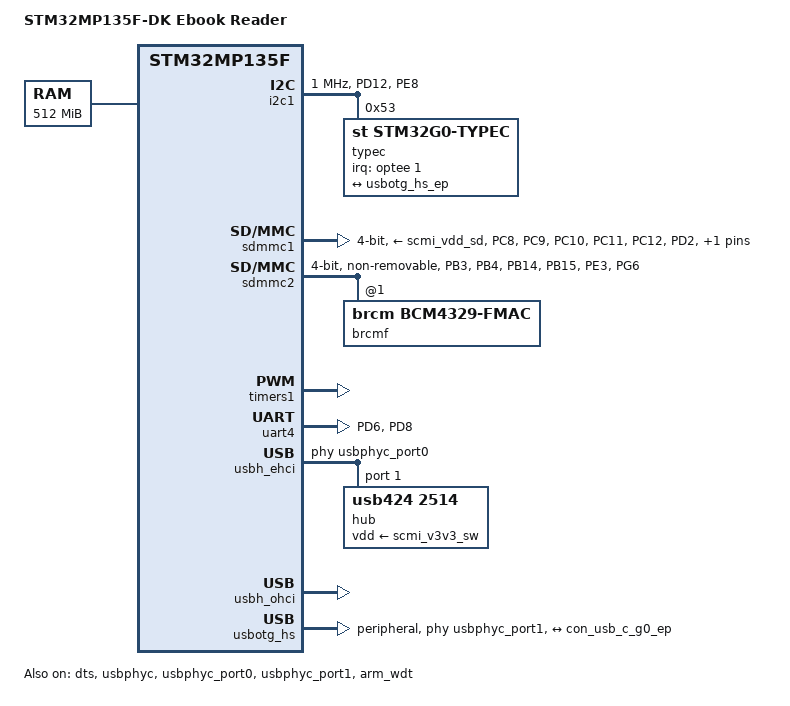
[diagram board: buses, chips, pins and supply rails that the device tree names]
// SPDX-License-Identifier: (GPL-2.0-or-later OR BSD-3-Clause)
/*
 * Copyright (C) 2025, STMicroelectronics - All Rights Reserved
 * Author: STM32CubeMX code generation for STMicroelectronics.
 */

/* For more information on Device Tree configuration, please refer to
 * https://wiki.st.com/stm32mpu/wiki/Category:Device_tree_configuration
 */

/dts-v1/;

#include <dt-bindings/pinctrl/stm32-pinfunc.h>
#include "stm32mp135.dtsi"
#include "stm32mp13xf.dtsi"

/* USER CODE BEGIN includes */
#include <dt-bindings/gpio/gpio.h>
#include <dt-bindings/input/input.h>
#include <dt-bindings/leds/common.h>
#include <dt-bindings/pwm/pwm.h>
#include <dt-bindings/rtc/rtc-stm32.h>
/* USER CODE END includes */

/ {
	model = "STM32MP135F-DK Ebook Reader";
	compatible = "st,stm32mp135f-dk-ebook_reader";

	memory@c0000000 {
		device_type = "memory";
		reg = <0xc0000000 0x20000000>;

		/* USER CODE BEGIN memory */
		/* USER CODE END memory */
	};

	reserved-memory {
		#address-cells = <1>;
		#size-cells = <1>;
		ranges;

		/* USER CODE BEGIN reserved-memory */

		optee@dd000000{
			reg = <0xdd000000 0x3000000>;
			no-map;
		};
		/* USER CODE END reserved-memory */
	};

	/* USER CODE BEGIN root */

	aliases{
		ethernet0 = &ethernet1;
		ethernet1 = &ethernet2;
		serial0 = &uart4;
		serial1 = &usart1;
		serial2 = &uart8;
		serial3 = &usart2;
	};

	chosen{
		stdout-path = "serial0:115200n8";
		#address-cells = <1>;
		#size-cells = <1>;
		ranges;

		framebuffer{
			compatible = "simple-framebuffer";
			clocks = <&rcc LTDC_PX>;
			lcd-supply = <&scmi_v3v3_sw>;
			status = "disabled";
		};
	};
}; /*root*/

&pinctrl {
	i2c1_pins_mx: i2c1_mx-0 {
		pins {
			pinmux = <STM32_PINMUX('D', 12, AF5)>, /* I2C1_SCL */
					 <STM32_PINMUX('E', 8, AF5)>; /* I2C1_SDA */
			bias-disable;
			drive-open-drain;
			slew-rate = <0>;
		};
	};

	i2c1_sleep_pins_mx: i2c1_sleep_mx-0 {
		pins {
			pinmux = <STM32_PINMUX('D', 12, ANALOG)>, /* I2C1_SCL */
					 <STM32_PINMUX('E', 8, ANALOG)>; /* I2C1_SDA */
		};
	};

	rtc_pins_mx: rtc_mx-0 {
		pins {
			pinmux = <STM32_PINMUX('I', 1, ANALOG)>; /* RTC_OUT2 */
		};
	};

	rtc_sleep_pins_mx: rtc_sleep_mx-0 {
		pins {
			pinmux = <STM32_PINMUX('I', 1, ANALOG)>; /* RTC_OUT2 */
		};
	};

	sdmmc1_pins_mx: sdmmc1_mx-0 {
		pins {
			pinmux = <STM32_PINMUX('C', 8, AF12)>, /* SDMMC1_D0 */
					 <STM32_PINMUX('C', 9, AF12)>, /* SDMMC1_D1 */
					 <STM32_PINMUX('C', 10, AF12)>, /* SDMMC1_D2 */
					 <STM32_PINMUX('C', 11, AF12)>, /* SDMMC1_D3 */
					 <STM32_PINMUX('C', 12, AF12)>, /* SDMMC1_CK */
					 <STM32_PINMUX('D', 2, AF12)>; /* SDMMC1_CMD */
			bias-disable;
			drive-push-pull;
			slew-rate = <1>;
		};
	};

	sdmmc1_opendrain_pins_mx: sdmmc1_opendrain_mx-0 {
		pins1 {
			pinmux = <STM32_PINMUX('C', 8, AF12)>, /* SDMMC1_D0 */
					 <STM32_PINMUX('C', 9, AF12)>, /* SDMMC1_D1 */
					 <STM32_PINMUX('C', 10, AF12)>, /* SDMMC1_D2 */
					 <STM32_PINMUX('C', 11, AF12)>, /* SDMMC1_D3 */
					 <STM32_PINMUX('C', 12, AF12)>; /* SDMMC1_CK */
			bias-disable;
			drive-push-pull;
			slew-rate = <1>;
		};
		pins2 {
			pinmux = <STM32_PINMUX('D', 2, AF12)>; /* SDMMC1_CMD */
			bias-disable;
			drive-open-drain;
			slew-rate = <1>;
		};
	};

	sdmmc1_sleep_pins_mx: sdmmc1_sleep_mx-0 {
		pins {
			pinmux = <STM32_PINMUX('C', 8, ANALOG)>, /* SDMMC1_D0 */
					 <STM32_PINMUX('C', 9, ANALOG)>, /* SDMMC1_D1 */
					 <STM32_PINMUX('C', 10, ANALOG)>, /* SDMMC1_D2 */
					 <STM32_PINMUX('C', 11, ANALOG)>, /* SDMMC1_D3 */
					 <STM32_PINMUX('C', 12, ANALOG)>, /* SDMMC1_CK */
					 <STM32_PINMUX('D', 2, ANALOG)>; /* SDMMC1_CMD */
		};
	};

	sdmmc2_pins_mx: sdmmc2_mx-0 {
		pins {
			pinmux = <STM32_PINMUX('B', 3, AF10)>, /* SDMMC2_D2 */
					 <STM32_PINMUX('B', 4, AF10)>, /* SDMMC2_D3 */
					 <STM32_PINMUX('B', 14, AF10)>, /* SDMMC2_D0 */
					 <STM32_PINMUX('B', 15, AF10)>, /* SDMMC2_D1 */
					 <STM32_PINMUX('E', 3, AF10)>, /* SDMMC2_CK */
					 <STM32_PINMUX('G', 6, AF10)>; /* SDMMC2_CMD */
			bias-pull-up;
			drive-push-pull;
			slew-rate = <1>;
		};
	};

	sdmmc2_opendrain_pins_mx: sdmmc2_opendrain_mx-0 {
		pins1 {
			pinmux = <STM32_PINMUX('B', 3, AF10)>, /* SDMMC2_D2 */
					 <STM32_PINMUX('B', 4, AF10)>, /* SDMMC2_D3 */
					 <STM32_PINMUX('B', 14, AF10)>, /* SDMMC2_D0 */
					 <STM32_PINMUX('B', 15, AF10)>, /* SDMMC2_D1 */
					 <STM32_PINMUX('E', 3, AF10)>; /* SDMMC2_CK */
			bias-pull-up;
			drive-push-pull;
			slew-rate = <1>;
		};
		pins2 {
			pinmux = <STM32_PINMUX('G', 6, AF10)>; /* SDMMC2_CMD */
			bias-pull-up;
			drive-open-drain;
			slew-rate = <1>;
		};
	};

	sdmmc2_sleep_pins_mx: sdmmc2_sleep_mx-0 {
		pins {
			pinmux = <STM32_PINMUX('B', 3, ANALOG)>, /* SDMMC2_D2 */
					 <STM32_PINMUX('B', 4, ANALOG)>, /* SDMMC2_D3 */
					 <STM32_PINMUX('B', 14, ANALOG)>, /* SDMMC2_D0 */
					 <STM32_PINMUX('B', 15, ANALOG)>, /* SDMMC2_D1 */
					 <STM32_PINMUX('E', 3, ANALOG)>, /* SDMMC2_CK */
					 <STM32_PINMUX('G', 6, ANALOG)>; /* SDMMC2_CMD */
		};
	};

	tim1_pwm_pins_mx: tim1_pwm_mx-0 {
		pins {
			pinmux = <STM32_PINMUX('E', 12, AF1)>; /* TIM1_CH3N */
			bias-disable;
			drive-push-pull;
			slew-rate = <0>;
		};
	};

	tim1_pwm_sleep_pins_mx: tim1_pwm_sleep_mx-0 {
		pins {
			pinmux = <STM32_PINMUX('E', 12, ANALOG)>; /* TIM1_CH3N */
		};
	};

	uart4_pins_mx: uart4_mx-0 {
		pins1 {
			pinmux = <STM32_PINMUX('D', 6, AF8)>; /* UART4_TX */
			bias-disable;
			drive-push-pull;
			slew-rate = <0>;
		};
		pins2 {
			pinmux = <STM32_PINMUX('D', 8, AF8)>; /* UART4_RX */
			bias-disable;
		};
	};

	uart4_idle_pins_mx: uart4_idle_mx-0 {
		pins1 {
			pinmux = <STM32_PINMUX('D', 6, AF8)>; /* UART4_TX */
			bias-disable;
			drive-push-pull;
			slew-rate = <0>;
		};
		pins2 {
			pinmux = <STM32_PINMUX('D', 8, AF8)>; /* UART4_RX */
			bias-disable;
		};
	};

	uart4_sleep_pins_mx: uart4_sleep_mx-0 {
		pins {
			pinmux = <STM32_PINMUX('D', 6, ANALOG)>, /* UART4_TX */
					 <STM32_PINMUX('D', 8, ANALOG)>; /* UART4_RX */
		};
	};

	/* USER CODE BEGIN pinctrl */
	/* USER CODE END pinctrl */
};

&adc_1 {
	status = "disabled";
};

&crc1 {
	status = "disabled";
};

&cryp {
	status = "disabled";
};

&dcmipp {
	status = "disabled";
};

&dma1 {
	status = "okay";

	/* USER CODE BEGIN dma1 */
	/* USER CODE END dma1 */
};

&dma2 {
	status = "okay";

	/* USER CODE BEGIN dma2 */
	/* USER CODE END dma2 */
};

&dmamux1 {
	status = "okay";

	dma-masters = <&dma1 &dma2>;
	dma-channels = <16>;

	/* USER CODE BEGIN dmamux1 */
	/* USER CODE END dmamux1 */
};

&dts {
	status = "okay";

	/* USER CODE BEGIN dts */
	/* USER CODE END dts */
};

&ethernet1 {
	status = "disabled";
};

&ethernet2 {
	status = "disabled";
};

&i2c1 {
	pinctrl-names = "default", "sleep";
	pinctrl-0 = <&i2c1_pins_mx>;
	pinctrl-1 = <&i2c1_sleep_pins_mx>;
	status = "okay";

	/* USER CODE BEGIN i2c1 */
	i2c-scl-rising-time-ns = <96>;
	i2c-scl-falling-time-ns = <3>;
	clock-frequency = <1000000>;
	/delete-property/ dmas;
	/delete-property/ dma-names;

	typec@53{
		compatible = "st,stm32g0-typec";
		reg = <0x53>;
		interrupts-extended = <&optee 1>;
		firmware-name = "stm32g0-ucsi.mp135f-dk.fw";
		wakeup-source;

		connector{
			compatible = "usb-c-connector";
			label = "USB-C";

			port{

				con_usb_c_g0_ep:endpoint{
					remote-endpoint = <&usbotg_hs_ep>;
				};
			};
		};
	};
	/* USER CODE END i2c1 */
};

&i2c5 {
	status = "disabled";
};

&ltdc {
	status = "disabled";
};

&mdma {
	status = "okay";

	/* USER CODE BEGIN mdma */
	/* USER CODE END mdma */
};

&rcc {
	status = "okay";

	/* USER CODE BEGIN rcc */
	/* USER CODE END rcc */
};

&rtc {
	status = "disabled";
};

&sdmmc1 {
	pinctrl-names = "default", "opendrain", "sleep";
	pinctrl-0 = <&sdmmc1_pins_mx>;
	pinctrl-1 = <&sdmmc1_opendrain_pins_mx>;
	pinctrl-2 = <&sdmmc1_sleep_pins_mx>;
	status = "okay";

	/* USER CODE BEGIN sdmmc1 */
	cd-gpios = <&gpioh 4 (GPIO_ACTIVE_LOW | GPIO_PULL_UP)>;
	disable-wp;
	st,neg-edge;
	bus-width = <4>;
	vmmc-supply = <&scmi_vdd_sd>;
	/* USER CODE END sdmmc1 */
};

&sdmmc2 {
	pinctrl-names = "default", "opendrain", "sleep";
	pinctrl-0 = <&sdmmc2_pins_mx>;
	pinctrl-1 = <&sdmmc2_opendrain_pins_mx>;
	pinctrl-2 = <&sdmmc2_sleep_pins_mx>;
	status = "okay";

	/* USER CODE BEGIN sdmmc2 */
	non-removable;
	cap-sdio-irq;
	st,neg-edge;
	bus-width = <4>;
	#address-cells = <1>;
	#size-cells = <0>;

	brcmf:bcrmf@1{
		reg = <1>;
		compatible = "brcm,bcm4329-fmac";
	};
	/* USER CODE END sdmmc2 */
};

&timers1 {
	status = "okay";

	/* USER CODE BEGIN timers1 */
	/delete-property/ dmas;
	/delete-property/ dma-names;
	/* USER CODE END timers1 */

	pwm1:pwm{
		pinctrl-names = "default", "sleep";
		pinctrl-0 = <&tim1_pwm_pins_mx>;
		pinctrl-1 = <&tim1_pwm_sleep_pins_mx>;
		status = "okay";

		/* USER CODE BEGIN pwm1 */
		/* USER CODE END pwm1 */
	};
};

&uart4 {
	pinctrl-names = "default", "idle", "sleep";
	pinctrl-0 = <&uart4_pins_mx>;
	pinctrl-1 = <&uart4_idle_pins_mx>;
	pinctrl-2 = <&uart4_sleep_pins_mx>;
	status = "okay";

	/* USER CODE BEGIN uart4 */
	/delete-property/ dmas;
	/delete-property/ dma-names;
	/* USER CODE END uart4 */
};

&usart2 {
	status = "disabled";
};

&usbh_ehci {
	status = "okay";

	/* USER CODE BEGIN usbh_ehci */
	phys = <&usbphyc_port0>;
	#address-cells = <1>;
	#size-cells = <0>;

	hub@1{
		compatible = "usb424,2514";
		reg = <1>;
		vdd-supply = <&scmi_v3v3_sw>;
	};
	/* USER CODE END usbh_ehci */
};

&usbh_ohci {
	status = "okay";

	/* USER CODE BEGIN usbh_ohci */
	/* USER CODE END usbh_ohci */
};

&usbotg_hs {
	status = "okay";

	/* USER CODE BEGIN usbotg_hs */
	phys = <&usbphyc_port1 0>;
	phy-names = "usb2-phy";
	dr_mode = "peripheral";
	port{

		usbotg_hs_ep:endpoint{
			remote-endpoint = <&con_usb_c_g0_ep>;
		};
	};
	/* USER CODE END usbotg_hs */
};

&usbphyc {
	status = "okay";

	/* USER CODE BEGIN usbphyc */
	/* USER CODE END usbphyc */
};

&usbphyc_port0 {
	status = "okay";

	/* USER CODE BEGIN usbphyc_port0 */
	phy-supply = <&scmi_vdd_usb>;
	st,current-boost-microamp = <1000>;
	st,decrease-hs-slew-rate;
	st,tune-hs-dc-level = <2>;
	st,enable-hs-rftime-reduction;
	st,trim-hs-current = <11>;
	st,trim-hs-impedance = <2>;
	st,tune-squelch-level = <1>;
	st,enable-hs-rx-gain-eq;
	st,no-hs-ftime-ctrl;
	st,no-lsfs-sc;
	/* USER CODE END usbphyc_port0 */
};

&usbphyc_port1 {
	status = "okay";

	/* USER CODE BEGIN usbphyc_port1 */
	phy-supply = <&scmi_vdd_usb>;
	st,current-boost-microamp = <1000>;
	st,decrease-hs-slew-rate;
	st,tune-hs-dc-level = <2>;
	st,enable-hs-rftime-reduction;
	st,trim-hs-current = <11>;
	st,trim-hs-impedance = <2>;
	st,tune-squelch-level = <1>;
	st,enable-hs-rx-gain-eq;
	st,no-hs-ftime-ctrl;
	st,no-lsfs-sc;
	/* USER CODE END usbphyc_port1 */
};

&scmi_regu {

	scmi_vddcpu:regulator@6{
		reg = <VOLTD_SCMI_STPMIC1_BUCK1>;
		regulator-name = "vddcpu";
	};

	scmi_vdd:regulator@8{
		reg = <VOLTD_SCMI_STPMIC1_BUCK3>;
		regulator-name = "vdd";
	};

	scmi_vddcore:regulator@9{
		reg = <VOLTD_SCMI_STPMIC1_BUCK4>;
		regulator-name = "vddcore";
	};

	scmi_vdd_adc:regulator@a{
		reg = <VOLTD_SCMI_STPMIC1_LDO1>;
		regulator-name = "vdd_adc";
	};

	scmi_vdd_usb:regulator@d{
		reg = <VOLTD_SCMI_STPMIC1_LDO4>;
		regulator-name = "vdd_usb";
	};

	scmi_vdd_sd:regulator@e{
		reg = <VOLTD_SCMI_STPMIC1_LDO5>;
		regulator-name = "vdd_sd";
	};

	scmi_v1v8_periph:regulator@f{
		reg = <VOLTD_SCMI_STPMIC1_LDO6>;
		regulator-name = "v1v8_periph";
	};

	scmi_v3v3_sw:regulator@13{
		reg = <VOLTD_SCMI_STPMIC1_PWR_SW2>;
		regulator-name = "v3v3_sw";
	};
};


&arm_wdt {
	timeout-sec = <32>;
	status = "okay";
};

/* USER CODE BEGIN addons */

/* USER CODE END addons */

